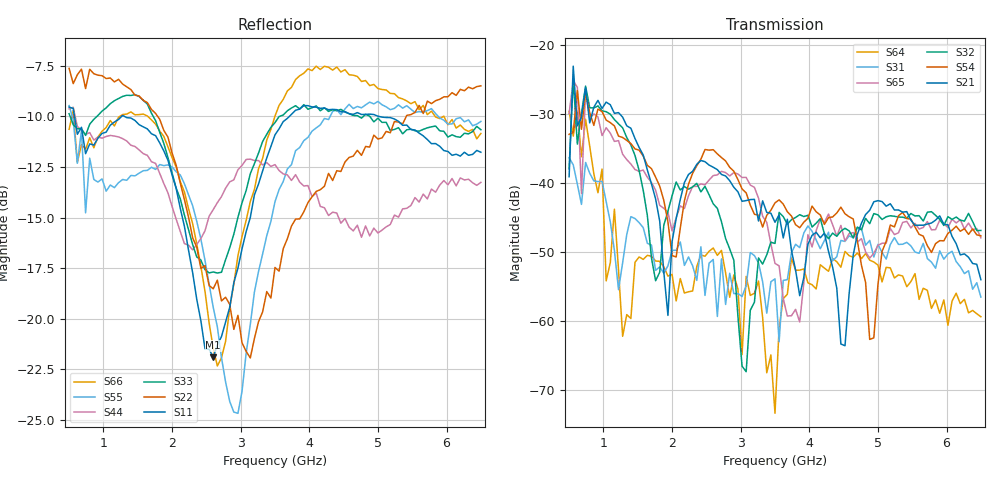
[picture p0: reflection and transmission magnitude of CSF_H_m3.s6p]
!Keysight Technologies,M9804A,MY58100912,A.14.10.03
!Date: Thursday, April 27, 2023 10:28:33
!Correction: S11(C  6-Port  )
!S12(C  6-Port  )
!S13(C  6-Port  )
!S14(C  6-Port  )
!S15(C  6-Port  )
!S16(C  6-Port  )
!S21(C  6-Port  )
!S22(C  6-Port  )
!S23(C  6-Port  )
!S24(C  6-Port  )
!S25(C  6-Port  )
!S26(C  6-Port  )
!S31(C  6-Port  )
!S32(C  6-Port  )
!S33(C  6-Port  )
!S34(C  6-Port  )
!S35(C  6-Port  )
!S36(C  6-Port  )
!S41(C  6-Port  )
!S42(C  6-Port  )
!S43(C  6-Port  )
!S44(C  6-Port  )
!S45(C  6-Port  )
!S46(C  6-Port  )
!S51(C  6-Port  )
!S52(C  6-Port  )
!S53(C  6-Port  )
!S54(C  6-Port  )
!S55(C  6-Port  )
!S56(C  6-Port  )
!S61(C  6-Port  )
!S62(C  6-Port  )
!S63(C  6-Port  )
!S64(C  6-Port  )
!S65(C  6-Port  )
!S66(C  6-Port  )
!S6P File: Measurement: :
# Hz S  RI  R 50
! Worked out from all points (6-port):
!   101 points, 500 MHz to 6.5 GHz, reference 50 ohm
!   strongest paths, dB at 500 MHz, 2 GHz, 3.5 GHz, 5 GHz, 6.5 GHz:
!     S21: -39.1, -48.5, -45.7, -42.6, -54.0
!     S54: -33.0, -50.5, -42.9, -54.7, -47.7
!     S32: -38.0, -41.9, -48.8, -44.6, -46.9
!     S65: -30.0, -46.9, -51.6, -49.1, -48.0
!     S31: -36.4, -49.8, -53.9, -48.9, -56.5
!     S64: -29.7, -53.2, -73.3, -51.9, -59.4
!   lowest |S11| = -21.9 dB at 2.6 GHz (marker M1), VSWR 1.17, Z = 42.8 + j1.96 ohm
!   |S11| at or under -10 dB: 578.3 MHz to 1.267 GHz (688.4 MHz wide, 74.6 % of centre); 1.304 GHz to 3.711 GHz (2.406 GHz wide, 96 % of centre); 5.009 GHz to end of sweep
